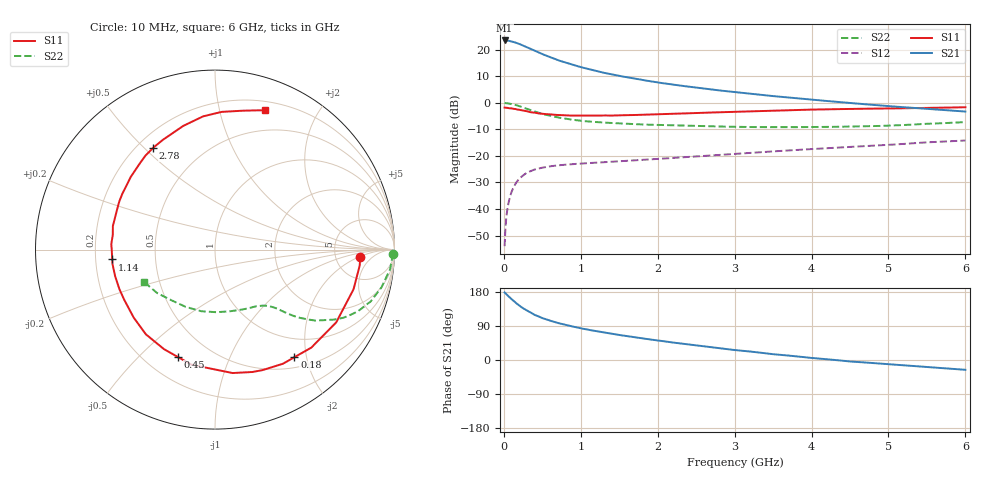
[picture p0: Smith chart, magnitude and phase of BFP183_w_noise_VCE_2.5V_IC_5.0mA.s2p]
! Infineon Technologies  Discrete & RF Semiconductors
! BFP183
! VCE = 2.5 V,  IC =  5.0 mA
! Common Emitter S-Parameters:  Jan 2016
# GHz  S  MA  R  50
!  f  S11  S21  S12  S22
! GHz  MAG  ANG  MAG  ANG  MAG  ANG  MAG  ANG
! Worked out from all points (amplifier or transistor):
!   210 points, 10 MHz to 6 GHz, reference 50 ohm
!   highest |S21| = 23.5 dB at 10 MHz (marker M1)
!   |S21| within 3 dB of that: start of sweep to 335.3 MHz
!   unconditionally stable (mu >= 1): 1.548 GHz to 5.777 GHz
!   at 185 MHz: K = 0.17, MSG = 25.7 dB, |S12| = -29.1 dB
!   at 1.52 GHz: K = 0.99, MSG = 16.0 dB, |S12| = -22.0 dB
!   at 6 GHz: K = 0.95, MSG = 5.5 dB, |S12| = -14.2 dB
!   lowest NFmin = 1.15 dB at 450 MHz
!   S11 on the Smith chart (normalised r, x): 10 MHz: 8.97, -2.29; 180 MHz: 0.66, -1.79; 450 MHz: 0.33, -0.66; 1.14 GHz: 0.27, -0.04; 2.78 GHz: 0.26, +0.53; 6 GHz: 0.28, +1.39
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0.01  0.8106 -3.1  14.93 178.2  0.002 86.1  0.9922 -1.3
0.05  0.8029 -16.0  14.9 170.1  0.0109 82.8  0.9812 -6.5
0.1  0.7877 -31.0  14.32 160.7  0.021 73.6  0.9513 -12.8
0.15  0.7656 -45.5  13.65 151.7  0.0297 66.6  0.9145 -18.4
0.18  0.7451 -53.6  13.18 146.9  0.0343 62.9  0.8857 -21.3
0.2  0.7401 -59.2  12.93 143.5  0.0375 61.0  0.8678 -23.3
0.24  0.7218 -68.5  12.12 137.9  0.0418 56.7  0.8284 -26.5
0.3  0.6947 -81.9  11.15 130.4  0.0485 51.7  0.7702 -30.4
0.4  0.6544 -101.6  9.624 119.1  0.0555 44.2  0.6869 -35.2
0.45  0.6328 -109.2  8.917 115.2  0.0577 41.7  0.6525 -36.7
0.5  0.6231 -117.2  8.259 110.6  0.0601 39.3  0.6186 -38.3
0.56  0.6115 -124.3  7.646 106.7  0.0623 37.4  0.589 -39.5
0.7  0.5905 -140.1  6.362 97.8  0.0664 33.9  0.5317 -41.6
1.02  0.5753 -166.5  4.622 82.9  0.072 30.5  0.4566 -44.7
1.14  0.575 -174.5  4.181 78.3  0.0739 29.9  0.4405 -45.9
1.5  0.584 167.0  3.216 65.9  0.0793 30.0  0.4098 -49.6
2.02  0.6064 145.5  2.393 51.0  0.0881 30.8  0.3828 -57.0
2.78  0.6626 121.5  1.725 31.5  0.1041 31.4  0.3581 -71.8
3.1  0.6818 113.1  1.539 24.4  0.1115 31.1  0.3512 -79.0
4.1  0.7487 93.5  1.115 3.8  0.1372 28.2  0.3513 -105.4
5.1  0.786 79.7  0.846 -12.7  0.1648 24.5  0.3763 -133.0
6  0.8257 70.1  0.685 -25.9  0.1951 17.5  0.4335 -155.2
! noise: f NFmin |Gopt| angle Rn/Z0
0.45  1.15  0.25  40  0.26
0.9  1.2  0.25  93  0.22
1.8  1.95  0.32  170  0.13
